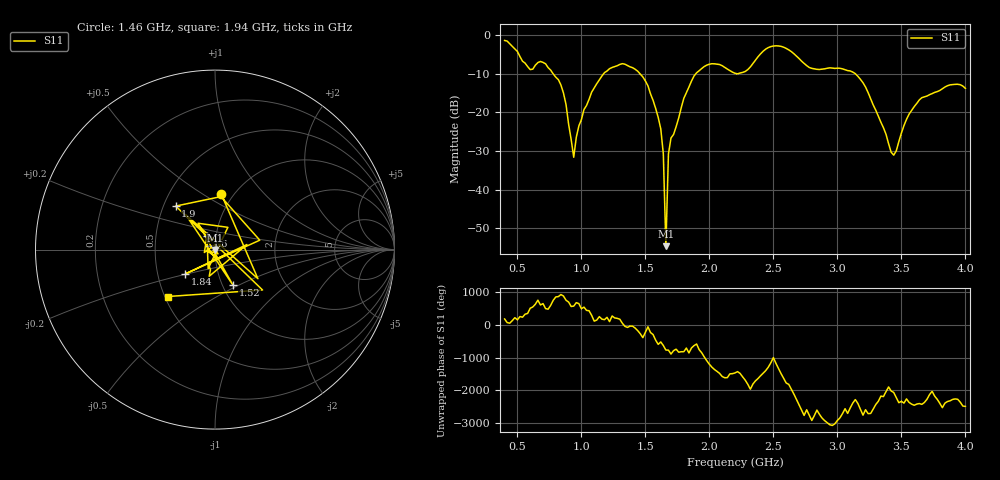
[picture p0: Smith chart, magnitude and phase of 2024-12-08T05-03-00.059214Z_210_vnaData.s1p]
!Created with skrf (http://scikit-rf.org).
# Hz S RI R 50.0
!freq ReS11 ImS11
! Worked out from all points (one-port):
!   181 points, 400 MHz to 4 GHz, reference 50 ohm
!   lowest |S11| = -54.7 dB at 1.66 GHz (marker M1), VSWR 1.00, Z = 50.1 - j0.147 ohm
!   |S11| at or under -10 dB: 779.7 MHz to 1.173 GHz (393.2 MHz wide, 40.3 % of centre); 1.458 GHz to 1.893 GHz (435 MHz wide, 26 % of centre); 3.142 GHz to end of sweep
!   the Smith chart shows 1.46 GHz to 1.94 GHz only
!   S11 on the Smith chart (normalised r, x): 1.46 GHz: 0.87, +0.61; 1.52 GHz: 1.12, -0.47; 1.6 GHz: 0.91, +0.13; 1.84 GHz: 0.69, -0.20; 1.9 GHz: 0.58, +0.31; 1.94 GHz: 0.52, -0.31
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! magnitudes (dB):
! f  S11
! 400 MHz  -1.3
! 600 MHz  -8.9
! 720 MHz  -7.4
! 860 MHz  -15.0
! 940 MHz  -31.6
! 980 MHz  -23.5
! 1.08 GHz  -14.7
! 1.3 GHz  -7.6
! 1.46 GHz  -10.1
! 1.52 GHz  -13.1
! 1.6 GHz  -21.3
! 1.64 GHz  -30.7
! 1.66 GHz  -54.7
! 1.68 GHz  -30.8
! 1.76 GHz  -21.5
! 1.84 GHz  -13.4
! 1.9 GHz  -9.7
! 1.94 GHz  -8.6
! 2.2 GHz  -9.9
! 2.48 GHz  -2.9
! 2.66 GHz  -4.8
! 2.8 GHz  -8.6
! 3.1 GHz  -9.2
! 3.22 GHz  -13.4
! 3.44 GHz  -31.1
! 3.56 GHz  -20.4
! 3.86 GHz  -13.1
! 4 GHz  -13.8
